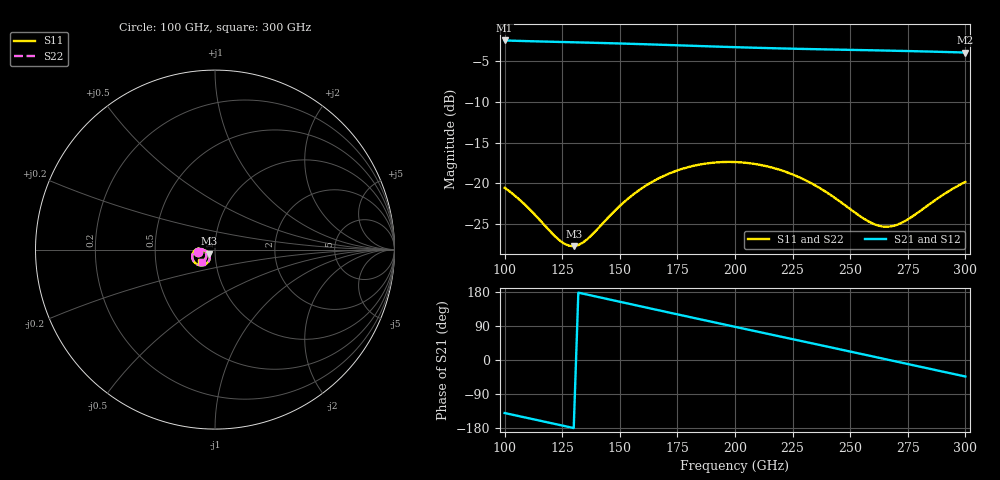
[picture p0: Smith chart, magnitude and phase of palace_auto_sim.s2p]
#  GHZ S DB R 50
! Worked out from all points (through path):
!   101 points, 100 GHz to 300 GHz, reference 50 ohm
!   highest |S21| = -2.44 dB at 100 GHz (marker M1); lowest = -3.9 dB at 300 GHz (marker M2)
!   group delay of S21, straight-line fit = 3.66 ps
!   lowest |S11| = -27.7 dB at 130 GHz (marker M3), VSWR 1.09, Z = 46.6 - j2.09 ohm
!   |S11| at or under -10 dB: start of sweep to end of sweep
!   |S22| runs from -27.7 to -17.3 dB; largest |S21 - S12| = 7.8e-14
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100  -20.54 -172.7  -2.44 -139.9  -2.44 -139.9  -20.51 -172.6
108  -22.41 -176.8  -2.51 -150.5  -2.51 -150.5  -22.37 -176.7
116  -24.73 -175.4  -2.57 -161.0  -2.57 -161.0  -24.70 -175.2
124  -27.05 -163.5  -2.63 -171.6  -2.63 -171.6  -27.01 -163.4
130  -27.73 -147.0  -2.67 -179.6  -2.67 -179.6  -27.69 -146.8
134  -27.28 -135.8  -2.69 175.1  -2.69 175.1  -27.25 -135.6
142  -25.11 -121.9  -2.75 164.4  -2.75 164.4  -25.08 -121.7
150  -22.79 -118.7  -2.81 153.7  -2.81 153.7  -22.76 -118.5
158  -20.92 -121.1  -2.88 143.1  -2.88 143.1  -20.89 -120.9
168  -19.23 -127.8  -2.97 129.8  -2.97 129.8  -19.20 -127.6
184  -17.73 -141.8  -3.12 108.6  -3.12 108.6  -17.70 -141.6
192  -17.43 -149.3  -3.20 98.1  -3.20 98.1  -17.39 -149.0
200  -17.39 -156.7  -3.27 87.6  -3.27 87.6  -17.35 -156.4
216  -18.06 -170.6  -3.39 66.7  -3.39 66.7  -18.03 -170.2
234  -20.13 178.1  -3.51 43.2  -3.51 43.2  -20.10 178.5
244  -21.93 176.4  -3.57 30.2  -3.57 30.2  -21.91 176.8
252  -23.58 180.0  -3.61 19.7  -3.61 19.7  -23.57 -179.6
260  -24.97 -170.1  -3.65 9.1  -3.65 9.1  -24.98 -169.5
268  -25.28 -155.3  -3.70 -1.4  -3.70 -1.4  -25.28 -154.5
274  -24.61 -145.3  -3.74 -9.3  -3.74 -9.3  -24.59 -144.4
284  -22.65 -136.5  -3.81 -22.5  -3.81 -22.5  -22.61 -135.5
300  -19.83 -137.9  -3.93 -43.6  -3.93 -43.6  -19.75 -136.9
